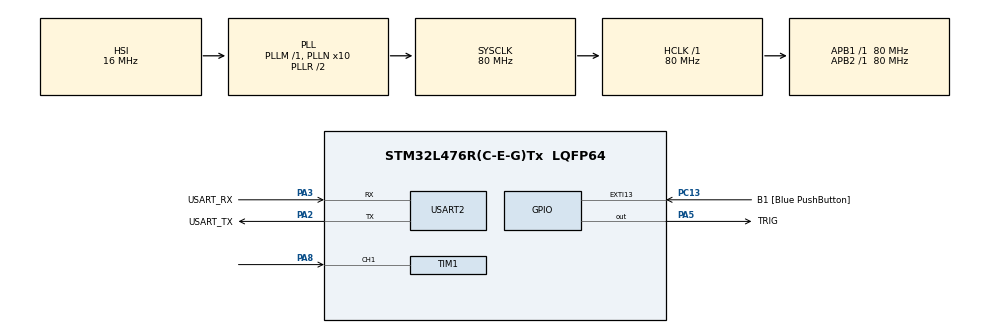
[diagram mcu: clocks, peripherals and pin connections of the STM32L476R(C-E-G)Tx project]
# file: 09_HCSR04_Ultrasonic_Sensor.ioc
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Mcu.Family=STM32L4
Mcu.Name=STM32L476R(C-E-G)Tx
Mcu.Package=LQFP64
NVIC.PriorityGroup=NVIC_PRIORITYGROUP_4
NVIC.TIM1_CC_IRQn=true\:0\:0\:false\:false\:true\:true\:true\:true
PA13\ (JTMS-SWDIO).GPIO_Label=TMS
PA13\ (JTMS-SWDIO).Mode=Serial_Wire
PA13\ (JTMS-SWDIO).Signal=SYS_JTMS-SWDIO
PA14\ (JTCK-SWCLK).GPIO_Label=TCK
PA14\ (JTCK-SWCLK).Mode=Serial_Wire
PA14\ (JTCK-SWCLK).Signal=SYS_JTCK-SWCLK
PA2.GPIO_Label=USART_TX
PA2.GPIO_Mode=GPIO_MODE_AF_PP
PA2.GPIO_PuPd=GPIO_NOPULL
PA2.GPIO_Speed=GPIO_SPEED_FREQ_VERY_HIGH
PA2.Mode=Asynchronous
PA2.Signal=USART2_TX
PA3.GPIO_Label=USART_RX
PA3.GPIO_Mode=GPIO_MODE_AF_PP
PA3.GPIO_PuPd=GPIO_NOPULL
PA3.GPIO_Speed=GPIO_SPEED_FREQ_VERY_HIGH
PA3.Mode=Asynchronous
PA3.Signal=USART2_RX
PA5.GPIO_Label=TRIG
PA5.GPIO_ModeDefaultOutputPP=GPIO_MODE_OUTPUT_PP
PA5.GPIO_PuPd=GPIO_NOPULL
PA5.GPIO_Speed=GPIO_SPEED_FREQ_LOW
PA5.Signal=GPIO_Output
PA8.Signal=S_TIM1_CH1
PB3\ (JTDO-TRACESWO).GPIO_Label=SWO
PB3\ (JTDO-TRACESWO).Signal=SYS_JTDO-SWO
PC13.GPIO_Label=B1 [Blue PushButton]
PC13.GPIO_ModeDefaultEXTI=GPIO_MODE_IT_FALLING
PC13.GPIO_PuPd=GPIO_NOPULL
PC13.Signal=GPXTI13
PC14-OSC32_IN\ (PC14).Mode=LSE-External-Oscillator
PC14-OSC32_IN\ (PC14).Signal=RCC_OSC32_IN
PC15-OSC32_OUT\ (PC15).Mode=LSE-External-Oscillator
PC15-OSC32_OUT\ (PC15).Signal=RCC_OSC32_OUT
PH0-OSC_IN\ (PH0).Signal=RCC_OSC_IN
PH1-OSC_OUT\ (PH1).Signal=RCC_OSC_OUT
ProjectManager.HeapSize=0x200
ProjectManager.StackSize=0x400
ProjectManager.TargetToolchain=STM32CubeIDE
RCC.ADCFreq_Value=64000000
RCC.AHBFreq_Value=80000000
RCC.APB1Freq_Value=80000000
RCC.APB1TimFreq_Value=80000000
RCC.APB2Freq_Value=80000000
RCC.APB2TimFreq_Value=80000000
RCC.CortexFreq_Value=80000000
RCC.HCLKFreq_Value=80000000
RCC.HSE_VALUE=8000000
RCC.HSI_VALUE=16000000
RCC.MSI_VALUE=4000000
RCC.PLLN=10
RCC.PLLSourceVirtual=RCC_PLLSOURCE_HSI
RCC.PREFETCH_ENABLE=1
RCC.SYSCLKFreq_VALUE=80000000
RCC.SYSCLKSource=RCC_SYSCLKSOURCE_PLLCLK
RCC.USBFreq_Value=64000000
RCC.VCOOutputFreq_Value=160000000
SH.S_TIM1_CH1.0=TIM1_CH1,Input_Capture1_from_TI1
TIM1.Channel-Input_Capture1_from_TI1=TIM_CHANNEL_1
TIM1.Period=65536 -1
TIM1.Prescaler=80-1
USART2.VirtualMode-Asynchronous=VM_ASYNC
board=NUCLEO-L476RG

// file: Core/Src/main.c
/* USER CODE BEGIN Header */
/**
  ******************************************************************************
  * @file           : main.c
  * @brief          : Main program body
  ******************************************************************************
  * @attention
  *
  * Copyright (c) 2024 STMicroelectronics.
  * All rights reserved.
  *
  * This software is licensed under terms that can be found in the LICENSE file
  * in the root directory of this software component.
  * If no LICENSE file comes with this software, it is provided AS-IS.
  *
  ******************************************************************************
  */
/* USER CODE END Header */
#include "main.h"
#include <stdio.h>

TIM_HandleTypeDef htim1;

UART_HandleTypeDef huart2;

/* USER CODE BEGIN PV */
uint32_t IC_Val1 = 0;
uint32_t IC_Val2 = 0;
uint32_t difference = 0;
uint8_t isFirstCaptured = 0;
uint16_t distance = 0;

char uart_buf[10];
int uart_buf_length;
/* USER CODE END PV */

void SystemClock_Config(void);
static void MX_GPIO_Init(void);
static void MX_USART2_UART_Init(void);
static void MX_TIM1_Init(void);

/* USER CODE BEGIN 0 */
void HAL_TIM_IC_CaptureCallback(TIM_HandleTypeDef *htim)
{
  if (htim->Channel == HAL_TIM_ACTIVE_CHANNEL_1)
  {
    if (isFirstCaptured == 0)
    {
      IC_Val1 = HAL_TIM_ReadCapturedValue(htim, TIM_CHANNEL_1);
      isFirstCaptured = 1;
      __HAL_TIM_SET_CAPTUREPOLARITY(htim, TIM_CHANNEL_1, TIM_INPUTCHANNELPOLARITY_FALLING);
    }
    else if (isFirstCaptured == 1)
    {
      IC_Val2 = HAL_TIM_ReadCapturedValue(htim, TIM_CHANNEL_1);
      __HAL_TIM_SetCounter(htim, 0);

      if (IC_Val2 > IC_Val1) difference = IC_Val2 - IC_Val1;
      else if (IC_Val1 > IC_Val2) difference = 0xffff - IC_Val1 + IC_Val2;

      distance = difference * .034/2;
      isFirstCaptured = 0;

      __HAL_TIM_SET_CAPTUREPOLARITY(htim, TIM_CHANNEL_1, TIM_INPUTCHANNELPOLARITY_RISING);
      __HAL_TIM_DISABLE_IT(&htim1, TIM_IT_CC1);
    }
  }
}
void Delay(uint16_t time)
{
  __HAL_TIM_SET_COUNTER(&htim1, 0);
  while (__HAL_TIM_GetCounter(&htim1) < time);
}

void HCSR04_Read()
{
  HAL_GPIO_WritePin(TRIG_GPIO_Port, TRIG_Pin, SET);
  Delay(10);
  HAL_GPIO_WritePin(TRIG_GPIO_Port, TRIG_Pin, RESET);

  __HAL_TIM_ENABLE_IT(&htim1, TIM_IT_CC1);
}

/* USER CODE END 0 */

int main(void)
{

  /* MCU Configuration--------------------------------------------------------*/

  /* Reset of all peripherals, Initializes the Flash interface and the Systick. */
  HAL_Init();

  /* Configure the system clock */
  SystemClock_Config();

  /* Initialize all configured peripherals */
  MX_GPIO_Init();
  MX_USART2_UART_Init();
  MX_TIM1_Init();
  /* USER CODE BEGIN 2 */
  HAL_TIM_IC_Start_IT(&htim1, TIM_CHANNEL_1);
  /* USER CODE END 2 */

  /* Infinite loop */
  /* USER CODE BEGIN WHILE */
  while (1)
  {
    HCSR04_Read();
    uart_buf_length = sprintf(uart_buf, "%d \n\r", distance);
    HAL_UART_Transmit(&huart2, uart_buf, uart_buf_length, 100);
    HAL_Delay(200);
    /* USER CODE END WHILE */

  }
}

void SystemClock_Config(void)
{
  RCC_OscInitTypeDef RCC_OscInitStruct = {0};
  RCC_ClkInitTypeDef RCC_ClkInitStruct = {0};

  /** Configure the main internal regulator output voltage
  */
  if (HAL_PWREx_ControlVoltageScaling(PWR_REGULATOR_VOLTAGE_SCALE1) != HAL_OK)
  {
    Error_Handler();
  }

  /** Initializes the RCC Oscillators according to the specified parameters
  * in the RCC_OscInitTypeDef structure.
  */
  RCC_OscInitStruct.OscillatorType = RCC_OSCILLATORTYPE_HSI;
  RCC_OscInitStruct.HSIState = RCC_HSI_ON;
  RCC_OscInitStruct.HSICalibrationValue = RCC_HSICALIBRATION_DEFAULT;
  RCC_OscInitStruct.PLL.PLLState = RCC_PLL_ON;
  RCC_OscInitStruct.PLL.PLLSource = RCC_PLLSOURCE_HSI;
  RCC_OscInitStruct.PLL.PLLM = 1;
  RCC_OscInitStruct.PLL.PLLN = 10;
  RCC_OscInitStruct.PLL.PLLP = RCC_PLLP_DIV7;
  RCC_OscInitStruct.PLL.PLLQ = RCC_PLLQ_DIV2;
  RCC_OscInitStruct.PLL.PLLR = RCC_PLLR_DIV2;
  if (HAL_RCC_OscConfig(&RCC_OscInitStruct) != HAL_OK)
  {
    Error_Handler();
  }

  /** Initializes the CPU, AHB and APB buses clocks
  */
  RCC_ClkInitStruct.ClockType = RCC_CLOCKTYPE_HCLK|RCC_CLOCKTYPE_SYSCLK
                              |RCC_CLOCKTYPE_PCLK1|RCC_CLOCKTYPE_PCLK2;
  RCC_ClkInitStruct.SYSCLKSource = RCC_SYSCLKSOURCE_PLLCLK;
  RCC_ClkInitStruct.AHBCLKDivider = RCC_SYSCLK_DIV1;
  RCC_ClkInitStruct.APB1CLKDivider = RCC_HCLK_DIV1;
  RCC_ClkInitStruct.APB2CLKDivider = RCC_HCLK_DIV1;

  if (HAL_RCC_ClockConfig(&RCC_ClkInitStruct, FLASH_LATENCY_4) != HAL_OK)
  {
    Error_Handler();
  }
}

static void MX_TIM1_Init(void)
{

  TIM_MasterConfigTypeDef sMasterConfig = {0};
  TIM_IC_InitTypeDef sConfigIC = {0};

  htim1.Instance = TIM1;
  htim1.Init.Prescaler = 80-1;
  htim1.Init.CounterMode = TIM_COUNTERMODE_UP;
  htim1.Init.Period = 65536 -1;
  htim1.Init.ClockDivision = TIM_CLOCKDIVISION_DIV1;
  htim1.Init.RepetitionCounter = 0;
  htim1.Init.AutoReloadPreload = TIM_AUTORELOAD_PRELOAD_DISABLE;
  if (HAL_TIM_IC_Init(&htim1) != HAL_OK)
  {
    Error_Handler();
  }
  sMasterConfig.MasterOutputTrigger = TIM_TRGO_RESET;
  sMasterConfig.MasterOutputTrigger2 = TIM_TRGO2_RESET;
  sMasterConfig.MasterSlaveMode = TIM_MASTERSLAVEMODE_DISABLE;
  if (HAL_TIMEx_MasterConfigSynchronization(&htim1, &sMasterConfig) != HAL_OK)
  {
    Error_Handler();
  }
  sConfigIC.ICPolarity = TIM_INPUTCHANNELPOLARITY_RISING;
  sConfigIC.ICSelection = TIM_ICSELECTION_DIRECTTI;
  sConfigIC.ICPrescaler = TIM_ICPSC_DIV1;
  sConfigIC.ICFilter = 0;
  if (HAL_TIM_IC_ConfigChannel(&htim1, &sConfigIC, TIM_CHANNEL_1) != HAL_OK)
  {
    Error_Handler();
  }

}

static void MX_USART2_UART_Init(void)
{

  huart2.Instance = USART2;
  huart2.Init.BaudRate = 115200;
  huart2.Init.WordLength = UART_WORDLENGTH_8B;
  huart2.Init.StopBits = UART_STOPBITS_1;
  huart2.Init.Parity = UART_PARITY_NONE;
  huart2.Init.Mode = UART_MODE_TX_RX;
  huart2.Init.HwFlowCtl = UART_HWCONTROL_NONE;
  huart2.Init.OverSampling = UART_OVERSAMPLING_16;
  huart2.Init.OneBitSampling = UART_ONE_BIT_SAMPLE_DISABLE;
  huart2.AdvancedInit.AdvFeatureInit = UART_ADVFEATURE_NO_INIT;
  if (HAL_UART_Init(&huart2) != HAL_OK)
  {
    Error_Handler();
  }

}

static void MX_GPIO_Init(void)
{
  GPIO_InitTypeDef GPIO_InitStruct = {0};

  /* GPIO Ports Clock Enable */
  __HAL_RCC_GPIOC_CLK_ENABLE();
  __HAL_RCC_GPIOH_CLK_ENABLE();
  __HAL_RCC_GPIOA_CLK_ENABLE();
  __HAL_RCC_GPIOB_CLK_ENABLE();

  /*Configure GPIO pin Output Level */
  HAL_GPIO_WritePin(TRIG_GPIO_Port, TRIG_Pin, GPIO_PIN_RESET);

  /*Configure GPIO pin : B1_Pin */
  GPIO_InitStruct.Pin = B1_Pin;
  GPIO_InitStruct.Mode = GPIO_MODE_IT_FALLING;
  GPIO_InitStruct.Pull = GPIO_NOPULL;
  HAL_GPIO_Init(B1_GPIO_Port, &GPIO_InitStruct);

  /*Configure GPIO pin : TRIG_Pin */
  GPIO_InitStruct.Pin = TRIG_Pin;
  GPIO_InitStruct.Mode = GPIO_MODE_OUTPUT_PP;
  GPIO_InitStruct.Pull = GPIO_NOPULL;
  GPIO_InitStruct.Speed = GPIO_SPEED_FREQ_LOW;
  HAL_GPIO_Init(TRIG_GPIO_Port, &GPIO_InitStruct);

}

void Error_Handler(void)
{
  __disable_irq();
  while (1)
  {
  }
}
